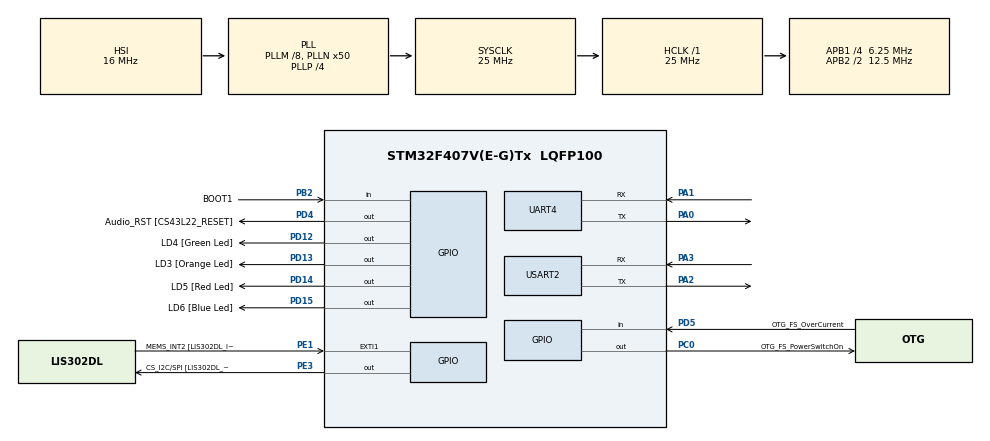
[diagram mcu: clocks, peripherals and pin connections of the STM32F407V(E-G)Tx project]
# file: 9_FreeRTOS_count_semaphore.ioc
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Mcu.Family=STM32F4
Mcu.Name=STM32F407V(E-G)Tx
Mcu.Package=LQFP100
NVIC.PriorityGroup=NVIC_PRIORITYGROUP_4
NVIC.TIM6_DAC_IRQn=true\:0\:0\:false\:false\:true\:false\:true
NVIC.TimeBase=TIM6_DAC_IRQn
NVIC.TimeBaseIP=TIM6
NVIC.UART4_IRQn=true\:6\:0\:true\:false\:true\:true\:true
NVIC.USART2_IRQn=true\:6\:0\:true\:false\:true\:true\:true
PA0-WKUP.Mode=Asynchronous
PA0-WKUP.Signal=UART4_TX
PA1.Mode=Asynchronous
PA1.Signal=UART4_RX
PA10.GPIO_Label=OTG_FS_ID
PA10.GPIO_Mode=GPIO_MODE_AF_PP
PA10.GPIO_PuPd=GPIO_NOPULL
PA10.GPIO_Speed=GPIO_SPEED_FREQ_LOW
PA10.Signal=USB_OTG_FS_ID
PA11.GPIO_Label=OTG_FS_DM
PA11.GPIO_Mode=GPIO_MODE_AF_PP
PA11.GPIO_PuPd=GPIO_NOPULL
PA11.GPIO_Speed=GPIO_SPEED_FREQ_LOW
PA11.Signal=USB_OTG_FS_DM
PA12.GPIO_Label=OTG_FS_DP
PA12.GPIO_Mode=GPIO_MODE_AF_PP
PA12.GPIO_PuPd=GPIO_NOPULL
PA12.GPIO_Speed=GPIO_SPEED_FREQ_LOW
PA12.Signal=USB_OTG_FS_DP
PA13.GPIO_Label=SWDIO
PA13.Signal=SYS_JTMS-SWDIO
PA14.GPIO_Label=SWCLK
PA14.Signal=SYS_JTCK-SWCLK
PA2.Mode=Asynchronous
PA2.Signal=USART2_TX
PA3.Mode=Asynchronous
PA3.Signal=USART2_RX
PA4.GPIO_Label=I2S3_WS [CS43L22_LRCK]
PA4.GPIO_Mode=GPIO_MODE_AF_PP
PA4.GPIO_PuPd=GPIO_NOPULL
PA4.GPIO_Speed=GPIO_SPEED_FREQ_LOW
PA4.Signal=I2S3_WS
PA5.GPIO_Label=SPI1_SCK [LIS302DL_SCL/SPC]
PA5.GPIO_Mode=GPIO_MODE_AF_PP
PA5.GPIO_PuPd=GPIO_NOPULL
PA5.GPIO_Speed=GPIO_SPEED_FREQ_LOW
PA5.Signal=SPI1_SCK
PA6.GPIO_Label=SPI1_MISO [LIS302DL_SDO]
PA6.GPIO_Mode=GPIO_MODE_AF_PP
PA6.GPIO_PuPd=GPIO_NOPULL
PA6.GPIO_Speed=GPIO_SPEED_FREQ_LOW
PA6.Signal=SPI1_MISO
PA7.GPIO_Label=SPI1_MOSI [LIS302DL_SDA/SDI/SDO]
PA7.GPIO_Mode=GPIO_MODE_AF_PP
PA7.GPIO_PuPd=GPIO_NOPULL
PA7.GPIO_Speed=GPIO_SPEED_FREQ_LOW
PA7.Signal=SPI1_MOSI
PA9.GPIO_Label=VBUS_FS
PA9.GPIO_Mode=GPIO_MODE_INPUT
PA9.GPIO_PuPd=GPIO_NOPULL
PA9.Signal=USB_OTG_FS_VBUS
PB10.GPIO_Label=CLK_IN [MP45DT02_CLK]
PB10.GPIO_Mode=GPIO_MODE_AF_PP
PB10.GPIO_PuPd=GPIO_NOPULL
PB10.GPIO_Speed=GPIO_SPEED_FREQ_LOW
PB10.Signal=I2S2_CK
PB2.GPIO_Label=BOOT1
PB2.GPIO_Mode=GPIO_MODE_INPUT
PB2.GPIO_PuPd=GPIO_NOPULL
PB2.Signal=GPIO_Input
PB3.GPIO_Label=SWO
PB3.Signal=SYS_JTDO-SWO
PB6.GPIO_Label=Audio_SCL [CS43L22_SCL]
PB6.GPIO_Mode=GPIO_MODE_AF_OD
PB6.GPIO_PuPd=GPIO_NOPULL
PB6.GPIO_Speed=GPIO_SPEED_FREQ_LOW
PB6.Signal=I2C1_SCL
PB9.GPIO_Label=Audio_SDA [CS43L22_SDA]
PB9.GPIO_Mode=GPIO_MODE_AF_OD
PB9.GPIO_PuPd=GPIO_NOPULL
PB9.GPIO_Speed=GPIO_SPEED_FREQ_LOW
PB9.Signal=I2C1_SDA
PC0.GPIO_Label=OTG_FS_PowerSwitchOn
PC0.GPIO_PuPd=GPIO_NOPULL
PC0.GPIO_Speed=GPIO_SPEED_FREQ_LOW
PC0.PinState=GPIO_PIN_SET
PC0.Signal=GPIO_Output
PC10.GPIO_Label=I2S3_SCK [CS43L22_SCLK]
PC10.GPIO_Mode=GPIO_MODE_AF_PP
PC10.GPIO_PuPd=GPIO_NOPULL
PC10.GPIO_Speed=GPIO_SPEED_FREQ_LOW
PC10.Signal=I2S3_CK
PC12.GPIO_Label=I2S3_SD [CS43L22_SDIN]
PC12.GPIO_Mode=GPIO_MODE_AF_PP
PC12.GPIO_PuPd=GPIO_NOPULL
PC12.GPIO_Speed=GPIO_SPEED_FREQ_LOW
PC12.Signal=I2S3_SD
PC14-OSC32_IN.GPIO_Label=PC14-OSC32_IN
PC14-OSC32_IN.Signal=RCC_OSC32_IN
PC15-OSC32_OUT.GPIO_Label=PC15-OSC32_OUT
PC15-OSC32_OUT.Signal=RCC_OSC32_OUT
PC3.GPIO_Label=PDM_OUT [MP45DT02_DOUT]
PC3.GPIO_Mode=GPIO_MODE_AF_PP
PC3.GPIO_PuPd=GPIO_NOPULL
PC3.GPIO_Speed=GPIO_SPEED_FREQ_LOW
PC3.Signal=I2S2_SD
PC7.GPIO_Label=I2S3_MCK [CS43L22_MCLK]
PC7.GPIO_Mode=GPIO_MODE_AF_PP
PC7.GPIO_PuPd=GPIO_NOPULL
PC7.GPIO_Speed=GPIO_SPEED_FREQ_LOW
PC7.Signal=I2S3_MCK
PD12.GPIO_Label=LD4 [Green Led]
PD12.GPIO_PuPd=GPIO_NOPULL
PD12.GPIO_Speed=GPIO_SPEED_FREQ_LOW
PD12.Signal=GPIO_Output
PD13.GPIO_Label=LD3 [Orange Led]
PD13.GPIO_PuPd=GPIO_NOPULL
PD13.GPIO_Speed=GPIO_SPEED_FREQ_LOW
PD13.Signal=GPIO_Output
PD14.GPIO_Label=LD5 [Red Led]
PD14.GPIO_PuPd=GPIO_NOPULL
PD14.GPIO_Speed=GPIO_SPEED_FREQ_LOW
PD14.Signal=GPIO_Output
PD15.GPIO_Label=LD6 [Blue Led]
PD15.GPIO_PuPd=GPIO_NOPULL
PD15.GPIO_Speed=GPIO_SPEED_FREQ_LOW
PD15.Signal=GPIO_Output
PD4.GPIO_Label=Audio_RST [CS43L22_RESET]
PD4.GPIO_PuPd=GPIO_NOPULL
PD4.GPIO_Speed=GPIO_SPEED_FREQ_LOW
PD4.Signal=GPIO_Output
PD5.GPIO_Label=OTG_FS_OverCurrent
PD5.GPIO_Mode=GPIO_MODE_INPUT
PD5.GPIO_PuPd=GPIO_NOPULL
PD5.Signal=GPIO_Input
PE1.GPIO_Label=MEMS_INT2 [LIS302DL_INT2]
PE1.GPIO_ModeDefaultEXTI=GPIO_MODE_EVT_RISING
PE1.GPIO_PuPd=GPIO_NOPULL
PE1.Signal=GPXTI1
PE3.GPIO_Label=CS_I2C/SPI [LIS302DL_CS_I2C/SPI]
PE3.GPIO_PuPd=GPIO_NOPULL
PE3.GPIO_Speed=GPIO_SPEED_FREQ_LOW
PE3.Signal=GPIO_Output
PH0-OSC_IN.GPIO_Label=PH0-OSC_IN
PH0-OSC_IN.Signal=RCC_OSC_IN
PH1-OSC_OUT.GPIO_Label=PH1-OSC_OUT
PH1-OSC_OUT.Signal=RCC_OSC_OUT
ProjectManager.HeapSize=0x200
ProjectManager.StackSize=0x400
ProjectManager.TargetToolchain=STM32CubeIDE
RCC.48MHZClocksFreq_Value=14285714.285714285
RCC.AHBFreq_Value=25000000
RCC.APB1CLKDivider=RCC_HCLK_DIV4
RCC.APB1Freq_Value=6250000
RCC.APB1TimFreq_Value=12500000
RCC.APB2CLKDivider=RCC_HCLK_DIV2
RCC.APB2Freq_Value=12500000
RCC.APB2TimFreq_Value=25000000
RCC.CortexFreq_Value=25000000
RCC.HCLKFreq_Value=25000000
RCC.HSE_VALUE=8000000
RCC.HSI_VALUE=16000000
RCC.LSE_VALUE=32768
RCC.PLLM=8
RCC.PLLN=50
RCC.PLLP=RCC_PLLP_DIV4
RCC.PLLQ=7
RCC.SYSCLKFreq_VALUE=25000000
RCC.SYSCLKSource=RCC_SYSCLKSOURCE_PLLCLK
RCC.VCOOutputFreq_Value=100000000
UART4.VirtualMode=Asynchronous
USART2.VirtualMode=VM_ASYNC
VP_RTC_VS_RTC_Activate.Mode=RTC_Enabled
VP_SYS_VS_tim6.Mode=TIM6
board=STM32F407G-DISC1

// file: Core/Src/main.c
/* USER CODE BEGIN Header */
/**
  ******************************************************************************
  * @file           : main.c
  * @brief          : Main program body
  ******************************************************************************
  * @attention
  *
  * <h2><center>&copy; Copyright (c) 2023 STMicroelectronics.
  * All rights reserved.</center></h2>
  *
  * This software component is licensed by ST under BSD 3-Clause license,
  * the "License"; You may not use this file except in compliance with the
  * License. You may obtain a copy of the License at:
  *                        opensource.org/licenses/BSD-3-Clause
  *
  ******************************************************************************
  */
/* USER CODE END Header */
#include "main.h"

/* USER CODE BEGIN Includes */
#include <stdio.h>
#include "FreeRTOS.h"
#include "task.h"
#include "queue.h"
#include <string.h>

#define PORT_NUMBER 5003      // TCP
#define CREATE_TCP_SERVER 1

/* USER CODE END Includes */

/* USER CODE BEGIN PM */
#define DWT_CTRL  (*(volatile uint32_t*) 0xE0001000 )  //BY:
#define STACK_SIZE 200
#define MEDIUM_PRI 2
#define HIGH_PRI 3

/* USER CODE END PM */

RTC_HandleTypeDef hrtc;

UART_HandleTypeDef huart4;
UART_HandleTypeDef huart2;

void SystemClock_Config(void);
static void MX_GPIO_Init(void);
static void MX_RTC_Init(void);
static void MX_USART2_UART_Init(void);
static void MX_UART4_Init(void);
/* USER CODE BEGIN PFP */

volatile uint8_t index_of_UART_data = 0;
volatile uint8_t index_of_esp8266_data = 0;

volatile uint8_t receiving_data_from_USART_2;
volatile uint8_t receiving_data_from_UART_4;

volatile char received_command_from_UART[LOG_MAX_COMMAND_LENGTH];
volatile char received_command_from_esp8266[ESP8266_MAX_COMMAND_LENGTH];

volatile char temp_arr[ESP8266_MAX_COMMAND_LENGTH];
uint8_t rBuff[30];

TaskHandle_t GS_task_handle = NULL;    // Task i tutan bir address. vTaskDelete( xHandle );
TaskHandle_t FB_task_handle = NULL;    // xTaskGetHandle("Command_handling_task") bu yemedi notify gönderemedim
TaskHandle_t Command_handling_task_handle = NULL;

/* USER CODE END PFP */

int main(void)
{

  /* MCU Configuration--------------------------------------------------------*/

  /* Reset of all peripherals, Initializes the Flash interface and the Systick. */
  HAL_Init();

  /* Configure the system clock */
  SystemClock_Config();

  /* Initialize all configured peripherals */
  MX_GPIO_Init();
  MX_RTC_Init();
  MX_USART2_UART_Init();
  MX_UART4_Init();
  /* USER CODE BEGIN 2 */
  DWT_CTRL |= 1;

  SEGGER_SYSVIEW_Conf();
  SEGGER_SYSVIEW_Start();

  task_create();
  queue_create();

  /* Burada UART paketlerini IT modda aldık.
   * Her ISR a düştüğünde 1 byte alıp bunu da receiving_data_from_UART değikenine yazacağımızı söylüyoruz.*/
  HAL_UART_Receive_IT(&huart2, (uint8_t *)&receiving_data_from_USART_2, 1);
  //HAL_UART_Receive_IT(&huart4, (uint8_t *)&receiving_data_from_UART_4, 10);

  vTaskStartScheduler();   // schedular ı başlat
  /* USER CODE END 2 */

  /* Infinite loop */
  while (1)
  {

  }
}

void SystemClock_Config(void)
{
  RCC_OscInitTypeDef RCC_OscInitStruct = {0};
  RCC_ClkInitTypeDef RCC_ClkInitStruct = {0};
  RCC_PeriphCLKInitTypeDef PeriphClkInitStruct = {0};

  /** Configure the main internal regulator output voltage
  */
  __HAL_RCC_PWR_CLK_ENABLE();
  __HAL_PWR_VOLTAGESCALING_CONFIG(PWR_REGULATOR_VOLTAGE_SCALE1);
  /** Initializes the RCC Oscillators according to the specified parameters
  * in the RCC_OscInitTypeDef structure.
  */
  RCC_OscInitStruct.OscillatorType = RCC_OSCILLATORTYPE_HSI|RCC_OSCILLATORTYPE_LSI;
  RCC_OscInitStruct.HSIState = RCC_HSI_ON;
  RCC_OscInitStruct.HSICalibrationValue = RCC_HSICALIBRATION_DEFAULT;
  RCC_OscInitStruct.LSIState = RCC_LSI_ON;
  RCC_OscInitStruct.PLL.PLLState = RCC_PLL_ON;
  RCC_OscInitStruct.PLL.PLLSource = RCC_PLLSOURCE_HSI;
  RCC_OscInitStruct.PLL.PLLM = 8;
  RCC_OscInitStruct.PLL.PLLN = 50;
  RCC_OscInitStruct.PLL.PLLP = RCC_PLLP_DIV4;
  RCC_OscInitStruct.PLL.PLLQ = 7;
  if (HAL_RCC_OscConfig(&RCC_OscInitStruct) != HAL_OK)
  {
    Error_Handler();
  }
  /** Initializes the CPU, AHB and APB buses clocks
  */
  RCC_ClkInitStruct.ClockType = RCC_CLOCKTYPE_HCLK|RCC_CLOCKTYPE_SYSCLK
                              |RCC_CLOCKTYPE_PCLK1|RCC_CLOCKTYPE_PCLK2;
  RCC_ClkInitStruct.SYSCLKSource = RCC_SYSCLKSOURCE_PLLCLK;
  RCC_ClkInitStruct.AHBCLKDivider = RCC_SYSCLK_DIV1;
  RCC_ClkInitStruct.APB1CLKDivider = RCC_HCLK_DIV4;
  RCC_ClkInitStruct.APB2CLKDivider = RCC_HCLK_DIV2;

  if (HAL_RCC_ClockConfig(&RCC_ClkInitStruct, FLASH_LATENCY_0) != HAL_OK)
  {
    Error_Handler();
  }
  PeriphClkInitStruct.PeriphClockSelection = RCC_PERIPHCLK_RTC;
  PeriphClkInitStruct.RTCClockSelection = RCC_RTCCLKSOURCE_LSI;
  if (HAL_RCCEx_PeriphCLKConfig(&PeriphClkInitStruct) != HAL_OK)
  {
    Error_Handler();
  }
}

static void MX_RTC_Init(void)
{

  /** Initialize RTC Only
  */
  hrtc.Instance = RTC;
  hrtc.Init.HourFormat = RTC_HOURFORMAT_24;
  hrtc.Init.AsynchPrediv = 127;
  hrtc.Init.SynchPrediv = 255;
  hrtc.Init.OutPut = RTC_OUTPUT_DISABLE;
  hrtc.Init.OutPutPolarity = RTC_OUTPUT_POLARITY_HIGH;
  hrtc.Init.OutPutType = RTC_OUTPUT_TYPE_OPENDRAIN;
  if (HAL_RTC_Init(&hrtc) != HAL_OK)
  {
    Error_Handler();
  }

}

static void MX_UART4_Init(void)
{

  huart4.Instance = UART4;
  huart4.Init.BaudRate = 115200;
  huart4.Init.WordLength = UART_WORDLENGTH_8B;
  huart4.Init.StopBits = UART_STOPBITS_1;
  huart4.Init.Parity = UART_PARITY_NONE;
  huart4.Init.Mode = UART_MODE_TX_RX;
  huart4.Init.HwFlowCtl = UART_HWCONTROL_NONE;
  huart4.Init.OverSampling = UART_OVERSAMPLING_16;
  if (HAL_UART_Init(&huart4) != HAL_OK)
  {
    Error_Handler();
  }

}

static void MX_USART2_UART_Init(void)
{

  huart2.Instance = USART2;
  huart2.Init.BaudRate = 115200;
  huart2.Init.WordLength = UART_WORDLENGTH_8B;
  huart2.Init.StopBits = UART_STOPBITS_1;
  huart2.Init.Parity = UART_PARITY_NONE;
  huart2.Init.Mode = UART_MODE_TX_RX;
  huart2.Init.HwFlowCtl = UART_HWCONTROL_NONE;
  huart2.Init.OverSampling = UART_OVERSAMPLING_16;
  if (HAL_UART_Init(&huart2) != HAL_OK)
  {
    Error_Handler();
  }

}

static void MX_GPIO_Init(void)
{
  GPIO_InitTypeDef GPIO_InitStruct = {0};

  /* GPIO Ports Clock Enable */
  __HAL_RCC_GPIOE_CLK_ENABLE();
  __HAL_RCC_GPIOC_CLK_ENABLE();
  __HAL_RCC_GPIOH_CLK_ENABLE();
  __HAL_RCC_GPIOA_CLK_ENABLE();
  __HAL_RCC_GPIOB_CLK_ENABLE();
  __HAL_RCC_GPIOD_CLK_ENABLE();

  /*Configure GPIO pin Output Level */
  HAL_GPIO_WritePin(CS_I2C_SPI_GPIO_Port, CS_I2C_SPI_Pin, GPIO_PIN_RESET);

  /*Configure GPIO pin Output Level */
  HAL_GPIO_WritePin(OTG_FS_PowerSwitchOn_GPIO_Port, OTG_FS_PowerSwitchOn_Pin, GPIO_PIN_SET);

  /*Configure GPIO pin Output Level */
  HAL_GPIO_WritePin(GPIOD, LD4_Pin|LD3_Pin|LD5_Pin|LD6_Pin
                          |Audio_RST_Pin, GPIO_PIN_RESET);

  /*Configure GPIO pin : CS_I2C_SPI_Pin */
  GPIO_InitStruct.Pin = CS_I2C_SPI_Pin;
  GPIO_InitStruct.Mode = GPIO_MODE_OUTPUT_PP;
  GPIO_InitStruct.Pull = GPIO_NOPULL;
  GPIO_InitStruct.Speed = GPIO_SPEED_FREQ_LOW;
  HAL_GPIO_Init(CS_I2C_SPI_GPIO_Port, &GPIO_InitStruct);

  /*Configure GPIO pin : OTG_FS_PowerSwitchOn_Pin */
  GPIO_InitStruct.Pin = OTG_FS_PowerSwitchOn_Pin;
  GPIO_InitStruct.Mode = GPIO_MODE_OUTPUT_PP;
  GPIO_InitStruct.Pull = GPIO_NOPULL;
  GPIO_InitStruct.Speed = GPIO_SPEED_FREQ_LOW;
  HAL_GPIO_Init(OTG_FS_PowerSwitchOn_GPIO_Port, &GPIO_InitStruct);

  /*Configure GPIO pin : PDM_OUT_Pin */
  GPIO_InitStruct.Pin = PDM_OUT_Pin;
  GPIO_InitStruct.Mode = GPIO_MODE_AF_PP;
  GPIO_InitStruct.Pull = GPIO_NOPULL;
  GPIO_InitStruct.Speed = GPIO_SPEED_FREQ_LOW;
  GPIO_InitStruct.Alternate = GPIO_AF5_SPI2;
  HAL_GPIO_Init(PDM_OUT_GPIO_Port, &GPIO_InitStruct);

  /*Configure GPIO pin : I2S3_WS_Pin */
  GPIO_InitStruct.Pin = I2S3_WS_Pin;
  GPIO_InitStruct.Mode = GPIO_MODE_AF_PP;
  GPIO_InitStruct.Pull = GPIO_NOPULL;
  GPIO_InitStruct.Speed = GPIO_SPEED_FREQ_LOW;
  GPIO_InitStruct.Alternate = GPIO_AF6_SPI3;
  HAL_GPIO_Init(I2S3_WS_GPIO_Port, &GPIO_InitStruct);

  /*Configure GPIO pins : SPI1_SCK_Pin SPI1_MISO_Pin SPI1_MOSI_Pin */
  GPIO_InitStruct.Pin = SPI1_SCK_Pin|SPI1_MISO_Pin|SPI1_MOSI_Pin;
  GPIO_InitStruct.Mode = GPIO_MODE_AF_PP;
  GPIO_InitStruct.Pull = GPIO_NOPULL;
  GPIO_InitStruct.Speed = GPIO_SPEED_FREQ_LOW;
  GPIO_InitStruct.Alternate = GPIO_AF5_SPI1;
  HAL_GPIO_Init(GPIOA, &GPIO_InitStruct);

  /*Configure GPIO pin : BOOT1_Pin */
  GPIO_InitStruct.Pin = BOOT1_Pin;
  GPIO_InitStruct.Mode = GPIO_MODE_INPUT;
  GPIO_InitStruct.Pull = GPIO_NOPULL;
  HAL_GPIO_Init(BOOT1_GPIO_Port, &GPIO_InitStruct);

  /*Configure GPIO pin : CLK_IN_Pin */
  GPIO_InitStruct.Pin = CLK_IN_Pin;
  GPIO_InitStruct.Mode = GPIO_MODE_AF_PP;
  GPIO_InitStruct.Pull = GPIO_NOPULL;
  GPIO_InitStruct.Speed = GPIO_SPEED_FREQ_LOW;
  GPIO_InitStruct.Alternate = GPIO_AF5_SPI2;
  HAL_GPIO_Init(CLK_IN_GPIO_Port, &GPIO_InitStruct);

  /*Configure GPIO pins : LD4_Pin LD3_Pin LD5_Pin LD6_Pin
                           Audio_RST_Pin */
  GPIO_InitStruct.Pin = LD4_Pin|LD3_Pin|LD5_Pin|LD6_Pin
                          |Audio_RST_Pin;
  GPIO_InitStruct.Mode = GPIO_MODE_OUTPUT_PP;
  GPIO_InitStruct.Pull = GPIO_NOPULL;
  GPIO_InitStruct.Speed = GPIO_SPEED_FREQ_LOW;
  HAL_GPIO_Init(GPIOD, &GPIO_InitStruct);

  /*Configure GPIO pins : I2S3_MCK_Pin I2S3_SCK_Pin I2S3_SD_Pin */
  GPIO_InitStruct.Pin = I2S3_MCK_Pin|I2S3_SCK_Pin|I2S3_SD_Pin;
  GPIO_InitStruct.Mode = GPIO_MODE_AF_PP;
  GPIO_InitStruct.Pull = GPIO_NOPULL;
  GPIO_InitStruct.Speed = GPIO_SPEED_FREQ_LOW;
  GPIO_InitStruct.Alternate = GPIO_AF6_SPI3;
  HAL_GPIO_Init(GPIOC, &GPIO_InitStruct);

  /*Configure GPIO pin : VBUS_FS_Pin */
  GPIO_InitStruct.Pin = VBUS_FS_Pin;
  GPIO_InitStruct.Mode = GPIO_MODE_INPUT;
  GPIO_InitStruct.Pull = GPIO_NOPULL;
  HAL_GPIO_Init(VBUS_FS_GPIO_Port, &GPIO_InitStruct);

  /*Configure GPIO pins : OTG_FS_ID_Pin OTG_FS_DM_Pin OTG_FS_DP_Pin */
  GPIO_InitStruct.Pin = OTG_FS_ID_Pin|OTG_FS_DM_Pin|OTG_FS_DP_Pin;
  GPIO_InitStruct.Mode = GPIO_MODE_AF_PP;
  GPIO_InitStruct.Pull = GPIO_NOPULL;
  GPIO_InitStruct.Speed = GPIO_SPEED_FREQ_LOW;
  GPIO_InitStruct.Alternate = GPIO_AF10_OTG_FS;
  HAL_GPIO_Init(GPIOA, &GPIO_InitStruct);

  /*Configure GPIO pin : OTG_FS_OverCurrent_Pin */
  GPIO_InitStruct.Pin = OTG_FS_OverCurrent_Pin;
  GPIO_InitStruct.Mode = GPIO_MODE_INPUT;
  GPIO_InitStruct.Pull = GPIO_NOPULL;
  HAL_GPIO_Init(OTG_FS_OverCurrent_GPIO_Port, &GPIO_InitStruct);

  /*Configure GPIO pins : Audio_SCL_Pin Audio_SDA_Pin */
  GPIO_InitStruct.Pin = Audio_SCL_Pin|Audio_SDA_Pin;
  GPIO_InitStruct.Mode = GPIO_MODE_AF_OD;
  GPIO_InitStruct.Pull = GPIO_PULLUP;
  GPIO_InitStruct.Speed = GPIO_SPEED_FREQ_LOW;
  GPIO_InitStruct.Alternate = GPIO_AF4_I2C1;
  HAL_GPIO_Init(GPIOB, &GPIO_InitStruct);

  /*Configure GPIO pin : MEMS_INT2_Pin */
  GPIO_InitStruct.Pin = MEMS_INT2_Pin;
  GPIO_InitStruct.Mode = GPIO_MODE_EVT_RISING;
  GPIO_InitStruct.Pull = GPIO_NOPULL;
  HAL_GPIO_Init(MEMS_INT2_GPIO_Port, &GPIO_InitStruct);

}

/* USER CODE BEGIN 4 */
int send_UART(uint8_t * pData, uint16_t Size)
{
	HAL_UART_Transmit(&huart2, pData, Size, HAL_MAX_DELAY);
	return 1;
}

void HAL_UART_RxCpltCallback(UART_HandleTypeDef *huart)
{
	 if (huart->Instance == USART2) {

		 if(xQueueIsQueueFullFromISR(q_read_data))
		 	{
		 		return;
		 	}
		 	else
		 	{
		 		if(index_of_UART_data < LOG_MAX_COMMAND_LENGTH
		 				&& receiving_data_from_USART_2 != '\r'
		 				&& receiving_data_from_USART_2 != '\n'		)
		 			received_command_from_UART[index_of_UART_data++] = receiving_data_from_USART_2;
		 		/*else if(receiving_data_from_UART == '\n')
		 			received_command_from_UART[LOG_MAX_COMMAND_LENGTH - 1] = receiving_data_from_UART;*/

		 		if(receiving_data_from_USART_2 == '\n')
		 		{
		 			if(index_of_UART_data > 0)  // Doğrudan entera basılırsa onu yoksaysın \r\n
		 			{
		 				if(index_of_UART_data < LOG_MAX_COMMAND_LENGTH)
		 					received_command_from_UART[index_of_UART_data++] = '\0';
		 				xQueueSendFromISR(q_read_data,(void *)&received_command_from_UART,NULL);
		 				index_of_UART_data = 0;
		 				xTaskNotifyFromISR(Command_handling_task_handle,0,eNoAction,NULL);
		 			}
		 		}
		 	}

		 	/* Enable UART data byte reception again in IT mode */
		 	HAL_UART_Receive_IT(&huart2, (uint8_t *)&receiving_data_from_USART_2, 1);
	  }

	 else if (huart->Instance == UART4)
	 {
		/* if(receiving_data_from_UART_4 == '\r')
		 {
			 strcpy((char *) temp_arr,(const char *) received_command_from_esp8266);
			 received_command_from_esp8266[index_of_esp8266_data] = '\0';
			 index_of_esp8266_data = 0;
			 //send_UART((uint8_t *)received_command_from_esp8266 , strlen((const char *) received_command_from_esp8266));
		 }
		 else
			 received_command_from_esp8266[index_of_esp8266_data++] = receiving_data_from_UART_4;

		 HAL_UART_Receive_IT(&huart4, (uint8_t *)&receiving_data_from_UART_4, 10);*/
	 }

}

void task_create()
{
	BaseType_t status;

	status = xTaskCreate(GS_task_handler,"GS",STACK_SIZE,NULL,HIGH_PRI,&GS_task_handle);
	configASSERT(status == pdPASS);

	status = xTaskCreate(FB_task_handler,"FB",STACK_SIZE,NULL,HIGH_PRI,&FB_task_handle);
	configASSERT(status == pdPASS);

	status = xTaskCreate(command_task_handler,"CMD",STACK_SIZE,NULL,HIGH_PRI,&Command_handling_task_handle);
	configASSERT(status == pdPASS);
}

void queue_create()
{
	q_print = xQueueCreate(SIZE_OF_PRINT_QUE,sizeof(size_t));
	configASSERT(q_print != NULL);

	q_read_data = xQueueCreate(SIZE_OF_READ_DATA_QUE,sizeof(char[LOG_MAX_COMMAND_LENGTH]));
	configASSERT(q_read_data != NULL);
}

/* USER CODE END 4 */

 /**
  * @brief  Period elapsed callback in non blocking mode
  * @note   This function is called  when TIM6 interrupt took place, inside
  * HAL_TIM_IRQHandler(). It makes a direct call to HAL_IncTick() to increment
  * a global variable "uwTick" used as application time base.
  * @param  htim : TIM handle
  * @retval None
  */
void HAL_TIM_PeriodElapsedCallback(TIM_HandleTypeDef *htim)
{
  if (htim->Instance == TIM6) {
    HAL_IncTick();
  }
}

void Error_Handler(void)
{
  __disable_irq();
  while (1)
  {
  }
}

/************************ (C) COPYRIGHT STMicroelectronics *****END OF FILE****/
